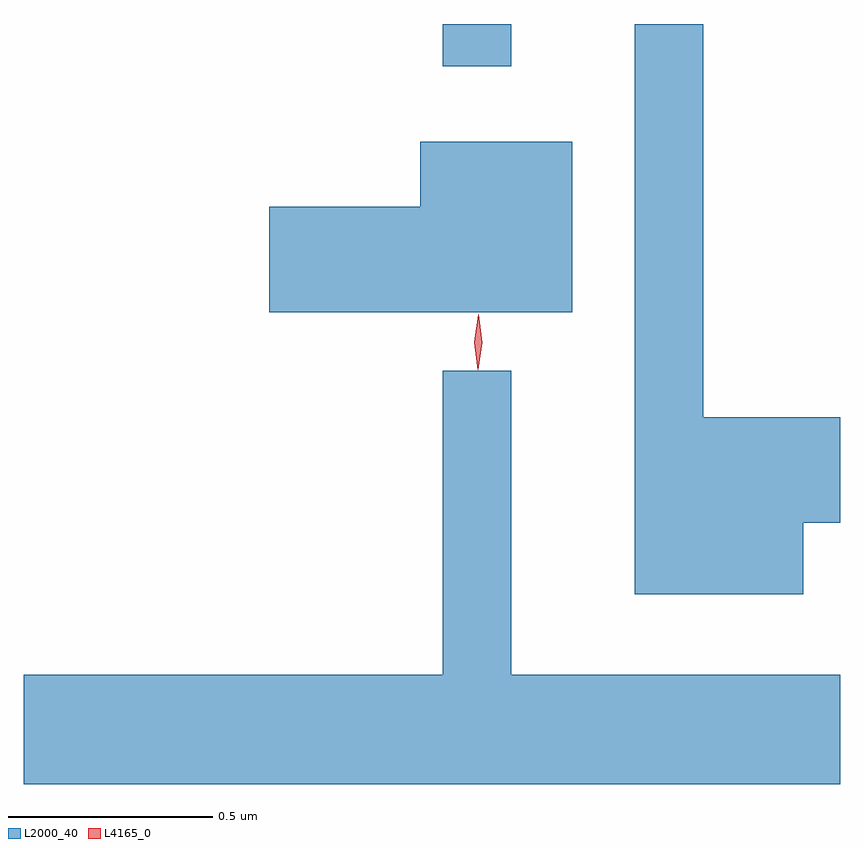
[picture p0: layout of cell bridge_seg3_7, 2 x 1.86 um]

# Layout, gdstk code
import gdstk
lib = gdstk.Library(unit=1e-6, precision=1e-09)
def R(c, l, rs):  # rectangles x0, y0, x1, y1
    for r in rs: c.add(gdstk.rectangle(r[:2], r[2:], *l))
def P(c, l, *ps):  # polygons
    for p in ps: c.add(gdstk.Polygon(p, *l))
L2000_40 = (2000, 40)
L4165_0 = (4165, 0)

bridge_seg3_7 = lib.new_cell('bridge_seg3_7')
R(bridge_seg3_7, L2000_40, [(1739.011,1138.873,1739.179,1138.977)])
P(bridge_seg3_7, L2000_40, [(1739.894,1137.756),(1739.985,1137.756),(1739.985,1138.014),(1739.649,1138.014),(1739.649,1138.977),(1739.481,1138.977),(1739.481,1137.581),(1739.894,1137.581)],
  [(1739.329,1138.689),(1738.956,1138.689),(1738.956,1138.529),(1738.586,1138.529),(1738.586,1138.271),(1739.329,1138.271)],
  [(1739.985,1137.384),(1739.179,1137.384),(1739.179,1138.128),(1739.011,1138.128),(1739.011,1137.384),(1737.985,1137.384),(1737.985,1137.116),(1739.985,1137.116)])
P(bridge_seg3_7, L4165_0, [(1739.097,1138.13),(1739.088,1138.198),(1739.098,1138.265),(1739.099,1138.266),(1739.099,1138.265),(1739.108,1138.198),(1739.098,1138.13),(1739.098,1138.13)],
  [(1739.097,1138.133),(1739.088,1138.196),(1739.099,1138.259),(1739.099,1138.26),(1739.1,1138.259),(1739.108,1138.196),(1739.098,1138.133),(1739.098,1138.133)])

lib.write_gds('bridge_seg3_7.gds')
